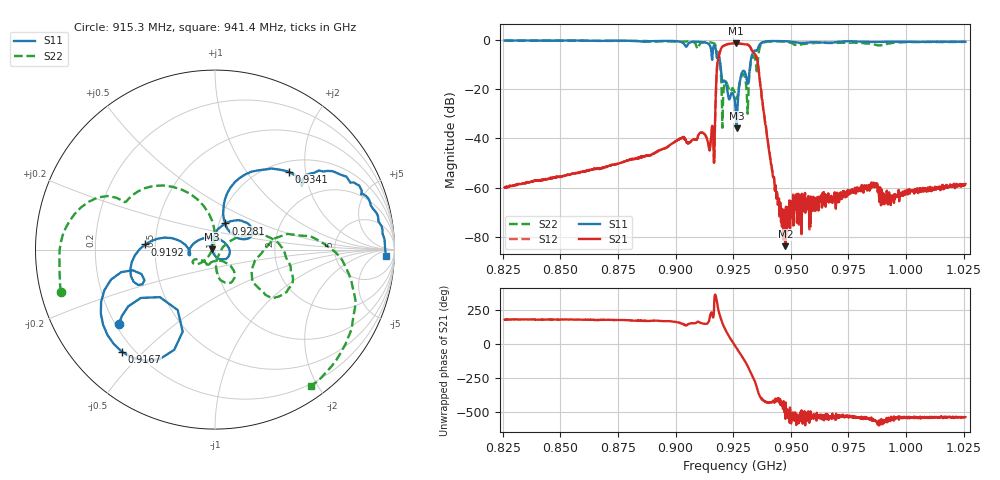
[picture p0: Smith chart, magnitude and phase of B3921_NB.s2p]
! Matrix data file written by TouchstoneData, EPCOS AG
! FILENAME: "B3921_NB.s2p"
! COMMENT: "NWA-Port1 : 98.0ps NWA-Port2 : 98.0ps PCB2031"
! INFO: nport=2, nfreq=1601
! DATE: "Wed Jul  4 2012"
! USER: "Hiroshi Tanaka"
! port | pin | signal
!  1  |  2  |  in
!  2  |  5  |  out
# MHZ S RI R 50
! freq  reS11 imS11  reS21 imS21  reS12 imS12  reS22 imS22
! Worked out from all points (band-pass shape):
!   1601 points, 825.8 MHz to 1.026 GHz, reference 50 ohm
!   highest |S21| = -1.31 dB at 926.3 MHz (marker M1); lowest = -83.8 dB at 947.7 MHz (marker M2)
!   |S21| within 3 dB of the highest: 919.4 MHz to 933.2 MHz (13.76 MHz wide, 1.49 % of centre)
!   lowest |S11| = -35.8 dB at 926.5 MHz (marker M3), VSWR 1.03, Z = 48.4 + j0.188 ohm
!   |S11| at or under -10 dB: 919.4 MHz to 932.4 MHz (12.94 MHz wide, 1.4 % of centre)
!   |S22| runs from -35.7 to -0.2 dB; largest |S21 - S12| = 0.00092
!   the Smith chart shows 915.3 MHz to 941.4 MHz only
!   S11 on the Smith chart (normalised r, x): 915.3 MHz: 0.21, -0.33; 916.7 MHz: 0.15, -0.43; 919.2 MHz: 0.44, +0.03; 928 MHz: 1.07, +0.32; 934 MHz: 1.20, +1.63; 941.4 MHz: 25, -19
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825.8  0.6117 -0.7589  -0.00101 2.52e-05  -0.000987 3.6e-05  -0.1249 -0.963
859.175  0.5241 -0.8175  -0.00208 3.47e-05  -0.00209 5.35e-05  -0.2281 -0.9406
892.55  0.329 -0.8971  -0.00545 0.000923  -0.00545 0.000921  -0.404 -0.8414
910.425  -0.136 -0.9067  -0.012 0.00471  -0.012 0.0047  -0.53 -0.6099
915.3  -0.5364 -0.4148  -0.00656 -0.0062  -0.00653 -0.00619  -0.8596 -0.2364
916.675  -0.519 -0.5693  -0.00137 -0.00289  -0.00137 -0.00289  -0.8588 0.0401
919.175  -0.3887 0.0288  -0.4701 -0.3035  -0.4695 -0.304  -0.1868 0.3347
920.425  -0.1416 -0.00989  -0.6365 0.374  -0.637 0.3735  -0.0223 -0.015
922.175  -0.1044 0.0445  0.0389 0.8087  0.0384 0.8088  -0.1214 -0.0607
925.8  0.0206 -0.0519  0.8342 -0.1843  0.8345 -0.184  -0.0288 -0.0793
926.3  -0.00839 -0.0216  0.7778 -0.3679  0.7783 -0.3676  -0.00606 -0.0651
926.55  -0.016 0.00194  0.7294 -0.4531  0.7299 -0.453  0.00998 -0.0616
928.05  0.0576 0.1457  0.2788 -0.7962  0.2793 -0.7965  0.1008 -0.1103
931.3  0.0979 0.0872  -0.7652 -0.2399  -0.7652 -0.2405  0.0293 -0.0119
934.05  0.4137 0.4338  -0.0982 0.5268  -0.0985 0.5271  0.4095 -0.2171
936.8  0.7327 0.4059  0.1048 -0.0622  0.105 -0.0623  0.7476 -0.1403
941.425  0.9503 -0.0365  0.0012 -0.00274  0.0012 -0.00274  0.5352 -0.762
947.675  0.8901 -0.3187  -6.34e-05 1.12e-05  -7.5e-05 3.65e-06  0.2367 -0.8911
959.175  0.7879 -0.4327  -0.000553 -0.000206  -0.000554 -0.000226  0.1459 -0.8488
985.925  0.7146 -0.5659  -0.00106 0.000236  -0.00108 0.000232  -0.0354 -0.8155
992.55  0.7054 -0.5871  -0.000638 1.72e-05  -0.000654 -2.38e-06  0.0687 -0.8436
1025.8  0.6557 -0.645  -0.00118 -7.98e-05  -0.0012 -6.32e-05  -0.0705 -0.908
